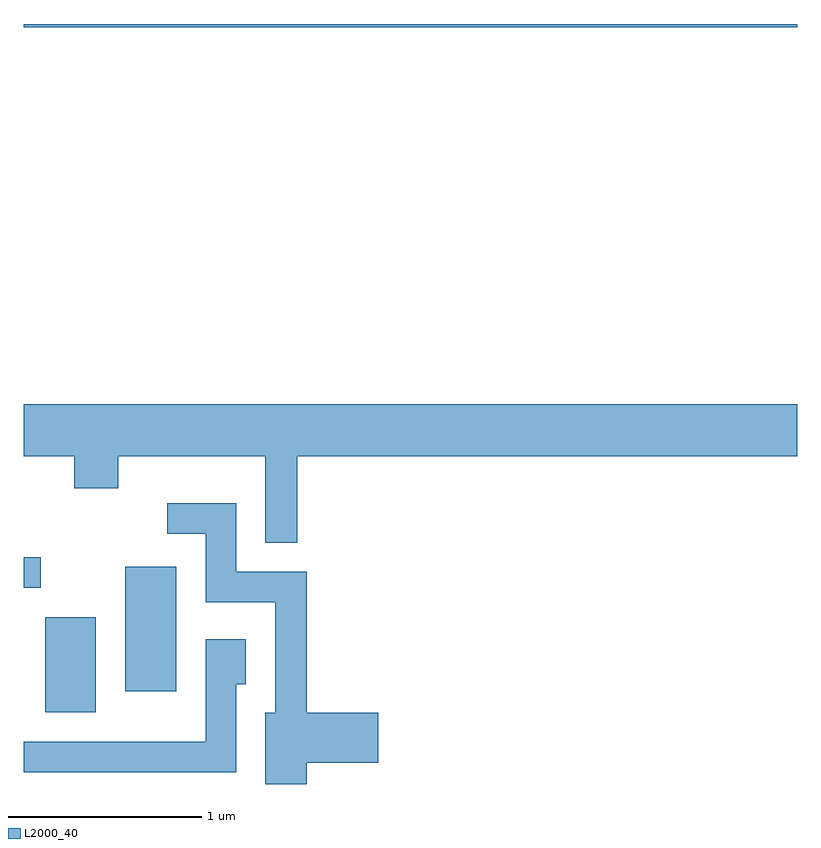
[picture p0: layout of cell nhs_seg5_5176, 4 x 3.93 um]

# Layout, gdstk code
import gdstk
lib = gdstk.Library(unit=1e-6, precision=1e-09)
def R(c, l, rs):  # rectangles x0, y0, x1, y1
    for r in rs: c.add(gdstk.rectangle(r[:2], r[2:], *l))
def P(c, l, *ps):  # polygons
    for p in ps: c.add(gdstk.Polygon(p, *l))
L2000_40 = (2000, 40)

nhs_seg5_5176 = lib.new_cell('nhs_seg5_5176')
R(nhs_seg5_5176, L2000_40, [(337.721,1526.511,337.984,1527.004), (338.136,1526.621,338.399,1527.264), (337.611,1527.156,337.698,1527.314), (337.611,1530.056,341.611,1530.072)])
P(nhs_seg5_5176, L2000_40, [(339.024,1527.836),(341.611,1527.836),(341.611,1528.104),(337.611,1528.104),(337.611,1527.836),(337.871,1527.836),(337.871,1527.671),(338.099,1527.671),(338.099,1527.836),(338.861,1527.836),(338.861,1527.388),(339.024,1527.388)],
  [(339.074,1526.251),(339.444,1526.251),(339.444,1526.509),(339.074,1526.509),(339.074,1527.239),(338.709,1527.239),(338.709,1527.594),(338.353,1527.594),(338.353,1527.436),(338.551,1527.436),(338.551,1527.081),(338.911,1527.081),(338.911,1526.509),(338.861,1526.509),(338.861,1526.141),(339.074,1526.141)],
  [(338.709,1526.656),(338.759,1526.656),(338.759,1526.889),(338.551,1526.889),(338.551,1526.359),(337.611,1526.359),(337.611,1526.201),(338.709,1526.201)])

lib.write_gds('nhs_seg5_5176.gds')
